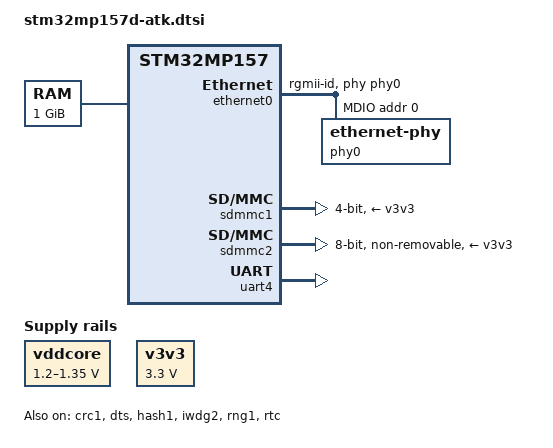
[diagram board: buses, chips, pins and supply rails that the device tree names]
// SPDX-License-Identifier: (GPL-2.0+ OR BSD-3-Clause)
/*
 * Copyright (C) STMicroelectronics 2017 - All Rights Reserved
 * Author: Ludovic Barre <ludovic.barre@st.com> for STMicroelectronics.
 */

#include "stm32mp157-m4-srm.dtsi"
#include "stm32mp157-m4-srm-pinctrl.dtsi"
#include <dt-bindings/gpio/gpio.h>
#include <dt-bindings/mfd/st,stpmic1.h>

/ {
	memory@c0000000 {
		device_type = "memory";
		reg = <0xC0000000 0x40000000>;
	};

	reserved-memory {
		#address-cells = <1>;
		#size-cells = <1>;
		ranges;

		mcuram2: mcuram2@10000000 {
			compatible = "shared-dma-pool";
			reg = <0x10000000 0x40000>;
			no-map;
		};

		vdev0vring0: vdev0vring0@10040000 {
			compatible = "shared-dma-pool";
			reg = <0x10040000 0x1000>;
			no-map;
		};

		vdev0vring1: vdev0vring1@10041000 {
			compatible = "shared-dma-pool";
			reg = <0x10041000 0x1000>;
			no-map;
		};

		vdev0buffer: vdev0buffer@10042000 {
			compatible = "shared-dma-pool";
			reg = <0x10042000 0x4000>;
			no-map;
		};

		mcuram: mcuram@30000000 {
			compatible = "shared-dma-pool";
			reg = <0x30000000 0x40000>;
			no-map;
		};

		retram: retram@38000000 {
			compatible = "shared-dma-pool";
			reg = <0x38000000 0x10000>;
			no-map;
		};
	};

	vddcore: buck1 {
		compatible = "regulator-fixed";
		regulator-name = "vddcore";
		regulator-min-microvolt = <1200000>;
		regulator-max-microvolt = <1350000>;
		regulator-always-on;
		regulator-boot-on;
	};

	v3v3: regulator-3p3v {
		compatible = "regulator-fixed";
		regulator-name = "v3v3";
		regulator-min-microvolt = <3300000>;
		regulator-max-microvolt = <3300000>;
		regulator-always-on;
		regulator-boot-on;
	};
};

&cpu0{
	cpu-supply = <&vddcore>;
};

&crc1 {
	status = "okay";
};

&dma1 {
	sram = <&dma_pool>;
};

&dma2 {
	sram = <&dma_pool>;
};

&dts {
	status = "okay";
};

&ethernet0 {
	status = "okay";
	pinctrl-0 = <&ethernet0_rgmii_pins_a>;
	pinctrl-1 = <&ethernet0_rgmii_pins_sleep_a>;
	pinctrl-names = "default", "sleep";
	phy-mode = "rgmii-id";
	max-speed = <1000>;
	phy-handle = <&phy0>;

	mdio0 {
		#address-cells = <1>;
		#size-cells = <0>;
		compatible = "snps,dwmac-mdio";
		phy0: ethernet-phy@0 {
			reg = <0>;
		};
	};
};

&hash1 {
	status = "okay";
};

&ipcc {
	status = "okay";
};

&iwdg2 {
	timeout-sec = <32>;
	status = "okay";
};

&rng1 {
	status = "okay";
};

&rtc {
	status = "okay";
};

&sdmmc1 {
	pinctrl-names = "default", "opendrain", "sleep";
	pinctrl-0 = <&sdmmc1_b4_pins_a>;
	pinctrl-1 = <&sdmmc1_b4_od_pins_a>;
	pinctrl-2 = <&sdmmc1_b4_sleep_pins_a>;
	broken-cd;
	st,neg-edge;
	bus-width = <4>;
	vmmc-supply = <&v3v3>;
	status = "okay";
};

&sdmmc2 {
	pinctrl-names = "default", "opendrain", "sleep";
	pinctrl-0 = <&sdmmc2_b4_pins_a>;
	pinctrl-1 = <&sdmmc2_b4_od_pins_a>;
	pinctrl-2 = <&sdmmc2_b4_sleep_pins_a>;
	non-removable;
	st,neg-edge;
	bus-width = <8>;
	vmmc-supply = <&v3v3>;
	keep-power-in-suspend;
	status = "okay";
};

&sram {
	dma_pool: dma_pool@0 {
		reg = <0x50000 0x10000>;
		pool;
	};
};

&uart4 {
	pinctrl-names = "default", "sleep", "idle";
	pinctrl-0 = <&uart4_pins_a>;
	pinctrl-1 = <&uart4_sleep_pins_a>;
	pinctrl-2 = <&uart4_idle_pins_a>;
	pinctrl-3 = <&uart4_pins_a>;
	/delete-property/dmas;
	/delete-property/dma-names;
	status = "okay";
};
